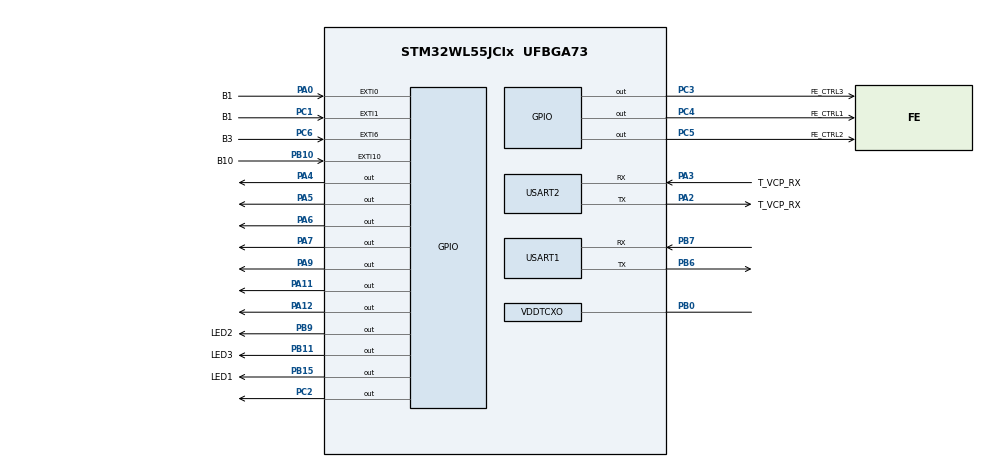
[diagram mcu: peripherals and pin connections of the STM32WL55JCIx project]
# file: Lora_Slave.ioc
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AES.Algorithm=CRYP_AES_ECB
AES.DataType=CRYP_DATATYPE_32B
AES.DataWidthUnit=CRYP_DATAWIDTHUNIT_BYTE
AES.Header=__NULL
AES.HeaderWidthUnit=CRYP_HEADERWIDTHUNIT_BYTE
AES.KeyIVConfigSkip=CRYP_KEYIVCONFIG_ALWAYS
AES.KeySize=CRYP_KEYSIZE_256B
AES.pKey=603DEB10 15CA71BE 2B73AEF0 857D7781 1F352C07 3B6108D7 2D9810A3 0914DFF4
Dma.Request0=USART2_RX
Dma.Request1=USART1_RX
Dma.USART1_RX.1.Channel_PRIV_NPRIV=DMA_CHANNEL_NPRIV_DISABLE
Dma.USART1_RX.1.Direction=DMA_PERIPH_TO_MEMORY
Dma.USART1_RX.1.EventEnable=DISABLE
Dma.USART1_RX.1.Instance=DMA1_Channel1
Dma.USART1_RX.1.MemDataAlignment=DMA_MDATAALIGN_BYTE
Dma.USART1_RX.1.MemInc=DMA_MINC_ENABLE
Dma.USART1_RX.1.Mode=DMA_NORMAL
Dma.USART1_RX.1.PeriphDataAlignment=DMA_PDATAALIGN_BYTE
Dma.USART1_RX.1.PeriphInc=DMA_PINC_DISABLE
Dma.USART1_RX.1.Polarity=HAL_DMAMUX_REQ_GEN_RISING
Dma.USART1_RX.1.Priority=DMA_PRIORITY_LOW
Dma.USART1_RX.1.RequestNumber=1
Dma.USART1_RX.1.SignalID=NONE
Dma.USART1_RX.1.SyncEnable=DISABLE
Dma.USART1_RX.1.SyncPolarity=HAL_DMAMUX_SYNC_NO_EVENT
Dma.USART1_RX.1.SyncRequestNumber=1
Dma.USART1_RX.1.SyncSignalID=NONE
Dma.USART2_RX.0.Channel_PRIV_NPRIV=DMA_CHANNEL_NPRIV_DISABLE
Dma.USART2_RX.0.Direction=DMA_PERIPH_TO_MEMORY
Dma.USART2_RX.0.EventEnable=DISABLE
Dma.USART2_RX.0.Instance=DMA1_Channel2
Dma.USART2_RX.0.MemDataAlignment=DMA_MDATAALIGN_BYTE
Dma.USART2_RX.0.MemInc=DMA_MINC_ENABLE
Dma.USART2_RX.0.Mode=DMA_NORMAL
Dma.USART2_RX.0.PeriphDataAlignment=DMA_PDATAALIGN_BYTE
Dma.USART2_RX.0.PeriphInc=DMA_PINC_DISABLE
Dma.USART2_RX.0.Polarity=HAL_DMAMUX_REQ_GEN_RISING
Dma.USART2_RX.0.Priority=DMA_PRIORITY_LOW
Dma.USART2_RX.0.RequestNumber=1
Dma.USART2_RX.0.SignalID=NONE
Dma.USART2_RX.0.SyncEnable=DISABLE
Dma.USART2_RX.0.SyncPolarity=HAL_DMAMUX_SYNC_NO_EVENT
Dma.USART2_RX.0.SyncRequestNumber=1
Dma.USART2_RX.0.SyncSignalID=NONE
Mcu.Family=STM32WL
Mcu.Name=STM32WL55JCIx
Mcu.Package=UFBGA73
NVIC.DMA1_Channel1_IRQn=true\:0\:0\:false\:false\:true\:false\:true\:true
NVIC.DMA1_Channel2_IRQn=true\:0\:0\:false\:false\:true\:false\:true\:true
NVIC.EXTI0_IRQn=true\:0\:0\:false\:false\:true\:true\:true\:true
NVIC.EXTI15_10_IRQn=true\:0\:0\:false\:false\:true\:true\:true\:true
NVIC.EXTI1_IRQn=true\:0\:0\:false\:false\:true\:true\:true\:true
NVIC.EXTI9_5_IRQn=true\:0\:0\:false\:false\:true\:true\:true\:true
NVIC.PriorityGroup=NVIC_PRIORITYGROUP_4
NVIC.SUBGHZ_Radio_IRQn=true\:0\:0\:false\:false\:true\:true\:true\:true
NVIC.TIM17_IRQn=true\:15\:0\:false\:false\:true\:false\:true\:true
NVIC.TimeBase=TIM17_IRQn
NVIC.TimeBaseIP=TIM17
NVIC.USART1_IRQn=true\:0\:0\:false\:false\:true\:true\:true\:true
NVIC.USART2_IRQn=true\:0\:0\:false\:false\:true\:true\:true\:true
OSC_IN.Mode=HSE-TCXO
OSC_IN.Signal=RCC_OSC_IN
PA0.GPIO_Label=B1
PA0.GPIO_ModeDefaultEXTI=GPIO_MODE_IT_FALLING
PA0.GPIO_PuPd=GPIO_PULLUP
PA0.Signal=GPXTI0
PA11.Signal=GPIO_Output
PA12.Signal=GPIO_Output
PA13.Mode=Serial_Wire
PA13.Signal=DEBUG_JTMS-SWDIO
PA14.Mode=Serial_Wire
PA14.Signal=DEBUG_JTCK-SWCLK
PA2.GPIO_Label=T_VCP_RX
PA2.Mode=Asynchronous
PA2.Signal=USART2_TX
PA3.GPIO_Label=T_VCP_RX
PA3.Mode=Asynchronous
PA3.Signal=USART2_RX
PA4.Signal=GPIO_Output
PA5.Signal=GPIO_Output
PA6.Signal=GPIO_Output
PA7.Signal=GPIO_Output
PA9.Signal=GPIO_Output
PB0-VDD_TCXO.Mode=HSE-TCXO
PB0-VDD_TCXO.Signal=VDDTCXO
PB10.GPIO_Label=B10
PB10.GPIO_ModeDefaultEXTI=GPIO_MODE_IT_FALLING
PB10.GPIO_PuPd=GPIO_PULLUP
PB10.Signal=GPXTI10
PB11.GPIO_Label=LED3
PB11.GPIO_Speed=GPIO_SPEED_FREQ_HIGH
PB11.Signal=GPIO_Output
PB15.GPIO_Label=LED1
PB15.GPIO_Speed=GPIO_SPEED_FREQ_HIGH
PB15.Signal=GPIO_Output
PB6.Mode=Asynchronous
PB6.Signal=USART1_TX
PB7.Mode=Asynchronous
PB7.Signal=USART1_RX
PB9.GPIO_FM9=__NULL
PB9.GPIO_Label=LED2
PB9.GPIO_Speed=GPIO_SPEED_FREQ_HIGH
PB9.Signal=GPIO_Output
PC1.GPIO_Label=B1
PC1.GPIO_ModeDefaultEXTI=GPIO_MODE_IT_FALLING
PC1.GPIO_PuPd=GPIO_PULLUP
PC1.Signal=GPXTI1
PC14-OSC32_IN.Mode=LSE-External-Oscillator
PC14-OSC32_IN.Signal=RCC_OSC32_IN
PC15-OSC32_OUT.Mode=LSE-External-Oscillator
PC15-OSC32_OUT.Signal=RCC_OSC32_OUT
PC2.Signal=GPIO_Output
PC3.GPIO_Label=FE_CTRL3
PC3.GPIO_Speed=GPIO_SPEED_FREQ_VERY_HIGH
PC3.Signal=GPIO_Output
PC4.GPIO_Label=FE_CTRL1
PC4.GPIO_Speed=GPIO_SPEED_FREQ_VERY_HIGH
PC4.Signal=GPIO_Output
PC5.GPIO_Label=FE_CTRL2
PC5.GPIO_Speed=GPIO_SPEED_FREQ_VERY_HIGH
PC5.Signal=GPIO_Output
PC6.GPIO_Label=B3
PC6.GPIO_ModeDefaultEXTI=GPIO_MODE_IT_FALLING
PC6.GPIO_PuPd=GPIO_PULLUP
PC6.Signal=GPXTI6
ProjectManager.HeapSize=0x200
ProjectManager.StackSize=0x400
ProjectManager.TargetToolchain=STM32CubeIDE
RCC.AHBFreq_Value=48000000
RCC.APB1Freq_Value=48000000
RCC.APB1TimFreq_Value=48000000
RCC.APB2Freq_Value=48000000
RCC.APB2TimFreq_Value=48000000
RCC.APB3Freq_Value=48000000
RCC.CortexFreq_Value=48000000
RCC.HCLKFreq_Value=48000000
RCC.HSE_VALUE=32000000
RCC.HSI_VALUE=16000000
RCC.LSE_VALUE=32768
RCC.MSIClockRange=RCC_MSIRANGE_11
RCC.SYSCLKFreq_VALUE=48000000
RCC.VCOOutputFreq_Value=384000000
SUBGHZ.BaudratePrescaler=SUBGHZSPI_BAUDRATEPRESCALER_4
USART1.VirtualMode-Asynchronous=VM_ASYNC
USART2.VirtualMode-Asynchronous=VM_ASYNC
VP_AES_VS_AES.Mode=AES_Activate
VP_SUBGHZ_VS_SUBGHZ.Mode=SUBGHZ_Activate
VP_SYS_VS_tim17.Mode=TIM17
board=NUCLEO-WL55JC2

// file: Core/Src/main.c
/* USER CODE BEGIN Header */
/**
 ******************************************************************************
 * @file           : main.c
 * @brief          : Main program body
 ******************************************************************************
 * @attention
 *
 * <h2><center>&copy; Copyright (c) 2021 STMicroelectronics.
 * All rights reserved.</center></h2>
 *
 * This software component is licensed by ST under BSD 3-Clause license,
 * the "License"; You may not use this file except in compliance with the
 * License. You may obtain a copy of the License at:
 *                        opensource.org/licenses/BSD-3-Clause
 *
 ******************************************************************************
 */
/* USER CODE END Header */
#include "main.h"
#include "aes.h"
#include "dma.h"
#include "subghz.h"
#include "usart.h"
#include "gpio.h"

/* USER CODE BEGIN PM */

bool flag_encrpt = false;
volatile uint32_t RF_FREQUENCY = RF_FREQUENCY0;
volatile uint32_t UART_BAUDRATE = BAUDRATE1;
volatile uint8_t Node_id[NODE_ID_SIZE] = NODE_ID;
uint8_t rxBuffer[RX_SIZE] = NO_LOAD;
uint8_t rxBuffer_packet[RX_SIZE];
uint8_t rxBuffer_encypt[RX_SIZE] = { 0 };
uint8_t rxBuffer_encypt_receive[RX_SIZE] = { 0 };
uint8_t rxBuffer_decypt[RX_SIZE] = { 0 };
uint8_t size = 0;
char uartBuff[UART_BUFF_SIZE];
volatile uint8_t freChannel = FRE_CHANNEL_START;
volatile uint8_t bauChannel = BAUD_CHANNEL_START;

/* USER CODE END PM */

void SystemClock_Config(void);

int main(void)
{
  /* USER CODE BEGIN 1 */

//  char uartBuff[100];
  /* USER CODE END 1 */

  /* MCU Configuration--------------------------------------------------------*/

  /* Reset of all peripherals, Initializes the Flash interface and the Systick. */
  HAL_Init();

  /* Configure the system clock */
  SystemClock_Config();

  /* Initialize all configured peripherals */
  MX_GPIO_Init();
  MX_DMA_Init();
  MX_USART2_UART_Init();
  MX_SUBGHZ_Init();
  MX_AES_Init();
  MX_USART1_UART_Init();
  /* USER CODE BEGIN 2 */
	radioInit();
	fsmInit();
	UartDmaStart();

  /* USER CODE END 2 */

  /* Infinite loop */
	while (1) {

    /* USER CODE BEGIN 3 */
		SUBGHZ();
	}
  /* USER CODE END 3 */
}

void SystemClock_Config(void)
{
  RCC_OscInitTypeDef RCC_OscInitStruct = {0};
  RCC_ClkInitTypeDef RCC_ClkInitStruct = {0};

  /** Configure LSE Drive Capability
  */
  HAL_PWR_EnableBkUpAccess();
  __HAL_RCC_LSEDRIVE_CONFIG(RCC_LSEDRIVE_LOW);

  /** Configure the main internal regulator output voltage
  */
  __HAL_PWR_VOLTAGESCALING_CONFIG(PWR_REGULATOR_VOLTAGE_SCALE1);

  /** Initializes the CPU, AHB and APB buses clocks
  */
  RCC_OscInitStruct.OscillatorType = RCC_OSCILLATORTYPE_LSE|RCC_OSCILLATORTYPE_MSI;
  RCC_OscInitStruct.LSEState = RCC_LSE_ON;
  RCC_OscInitStruct.MSIState = RCC_MSI_ON;
  RCC_OscInitStruct.MSICalibrationValue = RCC_MSICALIBRATION_DEFAULT;
  RCC_OscInitStruct.MSIClockRange = RCC_MSIRANGE_11;
  RCC_OscInitStruct.PLL.PLLState = RCC_PLL_NONE;
  if (HAL_RCC_OscConfig(&RCC_OscInitStruct) != HAL_OK)
  {
    Error_Handler();
  }

  /** Configure the SYSCLKSource, HCLK, PCLK1 and PCLK2 clocks dividers
  */
  RCC_ClkInitStruct.ClockType = RCC_CLOCKTYPE_HCLK3|RCC_CLOCKTYPE_HCLK
                              |RCC_CLOCKTYPE_SYSCLK|RCC_CLOCKTYPE_PCLK1
                              |RCC_CLOCKTYPE_PCLK2;
  RCC_ClkInitStruct.SYSCLKSource = RCC_SYSCLKSOURCE_MSI;
  RCC_ClkInitStruct.AHBCLKDivider = RCC_SYSCLK_DIV1;
  RCC_ClkInitStruct.APB1CLKDivider = RCC_HCLK_DIV1;
  RCC_ClkInitStruct.APB2CLKDivider = RCC_HCLK_DIV1;
  RCC_ClkInitStruct.AHBCLK3Divider = RCC_SYSCLK_DIV1;

  if (HAL_RCC_ClockConfig(&RCC_ClkInitStruct, FLASH_LATENCY_2) != HAL_OK)
  {
    Error_Handler();
  }
}

/* USER CODE BEGIN 4 */

/**
 * @brief  Initialize the Sub-GHz radio and dependent hardware.
 * @retval None
 */

/**
 * @brief  Receive data trough SUBGHZSPI peripheral
 * @param  radioIrq  interrupt pending status information
 * @retval None
 */

void HAL_GPIO_EXTI_Callback(uint16_t GPIO_Pin) {

	if (GPIO_Pin == GPIO_PIN_1) {

		switch (freChannel) {
		case 0:
			RF_FREQUENCY = RF_FREQUENCY0
			;
			HAL_GPIO_WritePin(LEDD4_GPIO_Port, LEDD4_Pin, GPIO_PIN_RESET);
			HAL_GPIO_WritePin(LEDD5_GPIO_Port, LEDD5_Pin, GPIO_PIN_RESET);
			HAL_GPIO_WritePin(LEDD6_GPIO_Port, LEDD6_Pin, GPIO_PIN_RESET);
			HAL_GPIO_WritePin(LEDD7_GPIO_Port, LEDD7_Pin, GPIO_PIN_SET);
			break;
		case 1:
			RF_FREQUENCY = RF_FREQUENCY1
			;
			HAL_GPIO_WritePin(LEDD4_GPIO_Port, LEDD4_Pin, GPIO_PIN_RESET);
			HAL_GPIO_WritePin(LEDD5_GPIO_Port, LEDD5_Pin, GPIO_PIN_RESET);
			HAL_GPIO_WritePin(LEDD6_GPIO_Port, LEDD6_Pin, GPIO_PIN_SET);
			HAL_GPIO_WritePin(LEDD7_GPIO_Port, LEDD7_Pin, GPIO_PIN_RESET);
			break;
		case 2:
			RF_FREQUENCY = RF_FREQUENCY2
			;
			HAL_GPIO_WritePin(LEDD4_GPIO_Port, LEDD4_Pin, GPIO_PIN_RESET);
			HAL_GPIO_WritePin(LEDD5_GPIO_Port, LEDD5_Pin, GPIO_PIN_RESET);
			HAL_GPIO_WritePin(LEDD6_GPIO_Port, LEDD6_Pin, GPIO_PIN_SET);
			HAL_GPIO_WritePin(LEDD7_GPIO_Port, LEDD7_Pin, GPIO_PIN_SET);
			break;
		case 3:
			RF_FREQUENCY = RF_FREQUENCY3
			;
			HAL_GPIO_WritePin(LEDD4_GPIO_Port, LEDD4_Pin, GPIO_PIN_RESET);
			HAL_GPIO_WritePin(LEDD5_GPIO_Port, LEDD5_Pin, GPIO_PIN_SET);
			HAL_GPIO_WritePin(LEDD6_GPIO_Port, LEDD6_Pin, GPIO_PIN_RESET);
			HAL_GPIO_WritePin(LEDD7_GPIO_Port, LEDD7_Pin, GPIO_PIN_RESET);
			break;
		case 4:
			RF_FREQUENCY = RF_FREQUENCY4
			;
			HAL_GPIO_WritePin(LEDD4_GPIO_Port, LEDD4_Pin, GPIO_PIN_RESET);
			HAL_GPIO_WritePin(LEDD5_GPIO_Port, LEDD5_Pin, GPIO_PIN_SET);
			HAL_GPIO_WritePin(LEDD6_GPIO_Port, LEDD6_Pin, GPIO_PIN_RESET);
			HAL_GPIO_WritePin(LEDD7_GPIO_Port, LEDD7_Pin, GPIO_PIN_SET);
			break;
		case 5:
			RF_FREQUENCY = RF_FREQUENCY5
			;
			HAL_GPIO_WritePin(LEDD4_GPIO_Port, LEDD4_Pin, GPIO_PIN_RESET);
			HAL_GPIO_WritePin(LEDD5_GPIO_Port, LEDD5_Pin, GPIO_PIN_SET);
			HAL_GPIO_WritePin(LEDD6_GPIO_Port, LEDD6_Pin, GPIO_PIN_SET);
			HAL_GPIO_WritePin(LEDD7_GPIO_Port, LEDD7_Pin, GPIO_PIN_RESET);
			break;
		case 6:
			RF_FREQUENCY = RF_FREQUENCY6
			;
			HAL_GPIO_WritePin(LEDD4_GPIO_Port, LEDD4_Pin, GPIO_PIN_RESET);
			HAL_GPIO_WritePin(LEDD5_GPIO_Port, LEDD5_Pin, GPIO_PIN_SET);
			HAL_GPIO_WritePin(LEDD6_GPIO_Port, LEDD6_Pin, GPIO_PIN_SET);
			HAL_GPIO_WritePin(LEDD7_GPIO_Port, LEDD7_Pin, GPIO_PIN_SET);
			break;
		case 7:
			RF_FREQUENCY = RF_FREQUENCY7
			;
			HAL_GPIO_WritePin(LEDD4_GPIO_Port, LEDD4_Pin, GPIO_PIN_SET);
			HAL_GPIO_WritePin(LEDD5_GPIO_Port, LEDD5_Pin, GPIO_PIN_RESET);
			HAL_GPIO_WritePin(LEDD6_GPIO_Port, LEDD6_Pin, GPIO_PIN_RESET);
			HAL_GPIO_WritePin(LEDD7_GPIO_Port, LEDD7_Pin, GPIO_PIN_RESET);
			break;

		default:
			RF_FREQUENCY = RF_FREQUENCY0
			;
			HAL_GPIO_WritePin(LEDD4_GPIO_Port, LEDD4_Pin, GPIO_PIN_RESET);
			HAL_GPIO_WritePin(LEDD5_GPIO_Port, LEDD5_Pin, GPIO_PIN_RESET);
			HAL_GPIO_WritePin(LEDD6_GPIO_Port, LEDD6_Pin, GPIO_PIN_RESET);
			HAL_GPIO_WritePin(LEDD7_GPIO_Port, LEDD7_Pin, GPIO_PIN_SET);

			//break
		}

		freChannel++;
		if (freChannel == FRE_CHANNEL_END)
			freChannel = FRE_CHANNEL_START;
	}
	if (GPIO_Pin == GPIO_PIN_0) {

		switch (bauChannel) {
		case 0:
			UART_BAUDRATE = BAUDRATE0;
			HAL_GPIO_WritePin(LEDD1_GPIO_Port, LEDD1_Pin, GPIO_PIN_RESET);
			HAL_GPIO_WritePin(LEDD2_GPIO_Port, LEDD2_Pin, GPIO_PIN_RESET);
			HAL_GPIO_WritePin(LEDD3_GPIO_Port, LEDD3_Pin, GPIO_PIN_SET);
			break;
		case 1:
			UART_BAUDRATE = BAUDRATE1;
			HAL_GPIO_WritePin(LEDD1_GPIO_Port, LEDD1_Pin, GPIO_PIN_RESET);
			HAL_GPIO_WritePin(LEDD2_GPIO_Port, LEDD2_Pin, GPIO_PIN_SET);
			HAL_GPIO_WritePin(LEDD3_GPIO_Port, LEDD3_Pin, GPIO_PIN_RESET);
			break;
		case 2:
			UART_BAUDRATE = BAUDRATE2;
			HAL_GPIO_WritePin(LEDD1_GPIO_Port, LEDD1_Pin, GPIO_PIN_RESET);
			HAL_GPIO_WritePin(LEDD2_GPIO_Port, LEDD2_Pin, GPIO_PIN_SET);
			HAL_GPIO_WritePin(LEDD3_GPIO_Port, LEDD3_Pin, GPIO_PIN_SET);
			break;
		case 3:
			UART_BAUDRATE = BAUDRATE3;
			HAL_GPIO_WritePin(LEDD1_GPIO_Port, LEDD1_Pin, GPIO_PIN_SET);
			HAL_GPIO_WritePin(LEDD2_GPIO_Port, LEDD2_Pin, GPIO_PIN_RESET);
			HAL_GPIO_WritePin(LEDD3_GPIO_Port, LEDD3_Pin, GPIO_PIN_RESET);
			break;
		case 4:
			UART_BAUDRATE = BAUDRATE4;
			HAL_GPIO_WritePin(LEDD1_GPIO_Port, LEDD1_Pin, GPIO_PIN_SET);
			HAL_GPIO_WritePin(LEDD2_GPIO_Port, LEDD2_Pin, GPIO_PIN_RESET);
			HAL_GPIO_WritePin(LEDD3_GPIO_Port, LEDD3_Pin, GPIO_PIN_SET);
			break;
		case 5:
			UART_BAUDRATE = BAUDRATE5;
			HAL_GPIO_WritePin(LEDD1_GPIO_Port, LEDD1_Pin, GPIO_PIN_SET);
			HAL_GPIO_WritePin(LEDD2_GPIO_Port, LEDD2_Pin, GPIO_PIN_SET);
			HAL_GPIO_WritePin(LEDD3_GPIO_Port, LEDD3_Pin, GPIO_PIN_RESET);
			break;
		case 6:
			UART_BAUDRATE = BAUDRATE6;
			HAL_GPIO_WritePin(LEDD1_GPIO_Port, LEDD1_Pin, GPIO_PIN_SET);
			HAL_GPIO_WritePin(LEDD2_GPIO_Port, LEDD2_Pin, GPIO_PIN_SET);
			HAL_GPIO_WritePin(LEDD3_GPIO_Port, LEDD3_Pin, GPIO_PIN_SET);
			break;
		default:
			UART_BAUDRATE = BAUDRATE5;
			HAL_GPIO_WritePin(LEDD1_GPIO_Port, LEDD1_Pin, GPIO_PIN_SET);
			HAL_GPIO_WritePin(LEDD2_GPIO_Port, LEDD2_Pin, GPIO_PIN_SET);
			HAL_GPIO_WritePin(LEDD3_GPIO_Port, LEDD3_Pin, GPIO_PIN_RESET);
		}

		bauChannel++;
		if (bauChannel == BAUD_CHANNEL_END)
			bauChannel = BAUD_CHANNEL_START;
		HAL_UART_Abort_IT(&huart2);
		HAL_UART_DeInit(&huart2);
		MX_USART2_UART_Init();
		UartDmaStart();
	}
}

/* USER CODE END 4 */

void HAL_TIM_PeriodElapsedCallback(TIM_HandleTypeDef *htim)
{
  if (htim->Instance == TIM17) {
    HAL_IncTick();
  }
}

void Error_Handler(void)
{
	__disable_irq();
	while (1) {
	}
}
